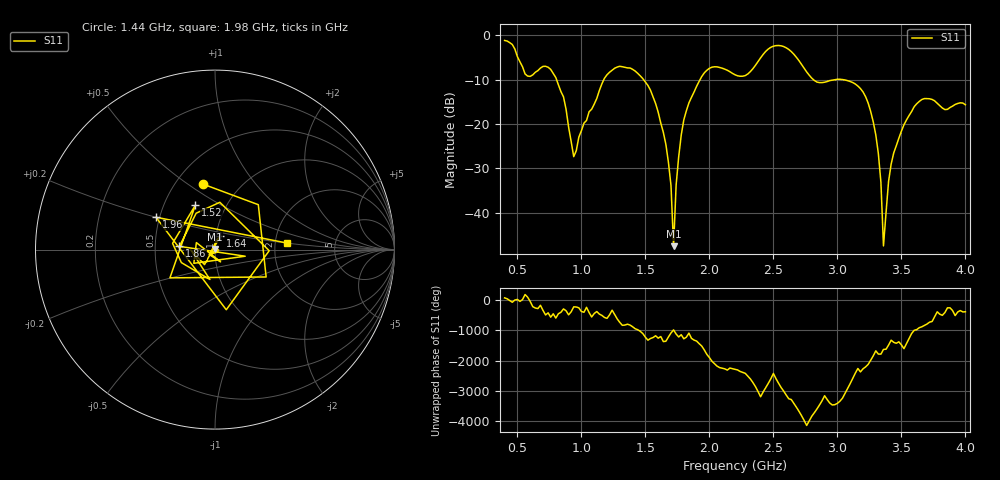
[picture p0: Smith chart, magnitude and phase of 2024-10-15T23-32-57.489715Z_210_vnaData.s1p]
! Created with skrf (http://scikit-rf.org).
# Hz S RI R 50.0
!freq ReS11 ImS11
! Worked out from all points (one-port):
!   181 points, 400 MHz to 4 GHz, reference 50 ohm
!   lowest |S11| = -47.6 dB at 1.72 GHz (marker M1), VSWR 1.01, Z = 50 + j0.415 ohm
!   |S11| at or under -10 dB: 805.5 MHz to 1.176 GHz (370.1 MHz wide, 37.4 % of centre); 1.485 GHz to 1.928 GHz (442.5 MHz wide, 25.9 % of centre); 3.035 GHz to end of sweep (the widest 3 of 4)
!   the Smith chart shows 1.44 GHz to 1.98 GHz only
!   S11 on the Smith chart (normalised r, x): 1.44 GHz: 0.68, +0.57; 1.52 GHz: 0.72, +0.38; 1.64 GHz: 1.05, +0.16; 1.86 GHz: 0.67, +0.03; 1.96 GHz: 0.48, +0.20; 1.98 GHz: 2.32, +0.20
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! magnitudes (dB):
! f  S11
! 400 MHz  -1.2
! 580 MHz  -9.2
! 760 MHz  -7.7
! 860 MHz  -13.9
! 940 MHz  -27.4
! 1.18 GHz  -9.7
! 1.3 GHz  -7.0
! 1.44 GHz  -8.6
! 1.52 GHz  -11.4
! 1.64 GHz  -21.9
! 1.7 GHz  -33.9
! 1.72 GHz  -47.6
! 1.74 GHz  -33.8
! 1.76 GHz  -27.5
! 1.86 GHz  -14.0
! 1.96 GHz  -8.5
! 1.98 GHz  -7.9
! 2.2 GHz  -8.9
! 2.5 GHz  -2.5
! 2.66 GHz  -4.3
! 2.84 GHz  -10.6
! 3.1 GHz  -10.5
! 3.28 GHz  -19.5
! 3.34 GHz  -33.2
! 3.36 GHz  -47.5
! 3.42 GHz  -29.1
! 3.56 GHz  -18.1
! 4 GHz  -15.7
